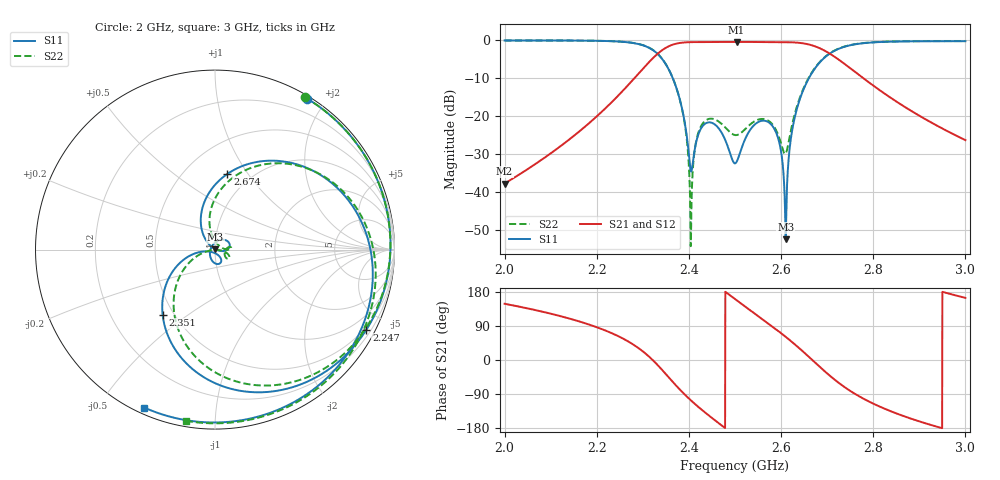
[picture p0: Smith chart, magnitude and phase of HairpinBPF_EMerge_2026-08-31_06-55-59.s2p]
! Generated by EMerge - 2-port S-parameters
! File generated: 2026-08-31 06:55
! Hairpin bandpass filter
! Wres  = 0.8500 mm
! Lin  = 3.0000 mm
! Lstub = 6.5000 mm
! Lside = 6.0000 mm
! L1 = 15.2000 mm, S1 = 0.1000 mm
! L2 = 15.4200 mm, S2 = 0.4000 mm
# GHz S RI R 50
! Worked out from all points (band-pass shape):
!   2001 points, 2 GHz to 3 GHz, reference 50 ohm
!   highest |S21| = -0.50 dB at 2.503 GHz (marker M1); lowest = -37.8 dB at 2 GHz (marker M2)
!   |S21| within 3 dB of the highest: 2.333 GHz to 2.705 GHz (371.3 MHz wide, 14.7 % of centre)
!   lowest |S11| = -52.4 dB at 2.61 GHz (marker M3), VSWR 1.00, Z = 50.1 + j0.221 ohm
!   |S11| at or under -10 dB: 2.365 GHz to 2.66 GHz (295.7 MHz wide, 11.8 % of centre)
!   |S22| runs from -54.2 to -0.1 dB; largest |S21 - S12| = 9.4e-05
!   S11 on the Smith chart (normalised r, x): 2 GHz: 0.03, +1.78; 2.247 GHz: 0.40, -3.99; 2.351 GHz: 0.43, -0.40; 2.674 GHz: 0.78, +0.81; 3 GHz: 0.03, -0.65
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2  0.5134 0.8409  -0.011 0.00678  -0.011 0.00678  0.5017 0.8482
2.167  0.9675 0.1645  -0.0114 0.0654  -0.0114 0.0654  0.957 0.2217
2.247  0.8433 -0.4466  0.0859 0.1659  0.0859 0.1659  0.8873 -0.357
2.2995  0.3277 -0.7894  0.381 0.1636  0.381 0.1636  0.443 -0.7351
2.3335  -0.1733 -0.6194  0.6465 -0.1748  0.6465 -0.1748  -0.0571 -0.6443
2.351  -0.2916 -0.3643  0.622 -0.4974  0.6219 -0.4974  -0.2137 -0.4179
2.3865  -0.1123 -0.0214  0.0685 -0.9216  0.0685 -0.9215  -0.1049 -0.0393
2.404  -0.01 -0.0161  -0.2615 -0.8996  -0.2615 -0.8995  -0.000606 -0.00185
2.4155  0.0245 -0.0374  -0.4503 -0.8237  -0.4502 -0.8236  0.0452 -0.00835
2.431  0.0342 -0.0671  -0.6585 -0.6695  -0.6585 -0.6694  0.0758 -0.0294
2.5  -0.0219 0.00953  -0.8915 0.309  -0.8914 0.309  0.054 -0.0155
2.5035  -0.018 0.0173  -0.8732 0.3577  -0.8731 0.3576  0.055 -0.0111
2.5735  0.0809 0.0154  -0.0851 0.936  -0.0851 0.9359  0.0858 0.00247
2.596  0.0444 -0.00833  0.2509 0.9056  0.2508 0.9055  0.0516 0.00402
2.61  0.000948 0.0022  0.4528 0.8216  0.4527 0.8215  0.0182 0.0265
2.6285  -0.0586 0.0675  0.6839 0.6295  0.6838 0.6294  -0.0224 0.0972
2.667  0.00788 0.3694  0.851 0.0129  0.8509 0.0129  0.0645 0.3706
2.674  0.0688 0.4216  0.8179 -0.1002  0.8178 -0.1002  0.1218 0.4162
2.7085  0.5015 0.4595  0.4624 -0.4504  0.4623 -0.4504  0.5158 0.4514
2.75  0.8507 0.0627  0.063 -0.4211  0.063 -0.4211  0.8502 0.1111
2.8335  0.6222 -0.7167  -0.1235 -0.1324  -0.1234 -0.1324  0.7309 -0.612
3  -0.3938 -0.8801  -0.0463 0.0134  -0.0463 0.0134  -0.1609 -0.9543
